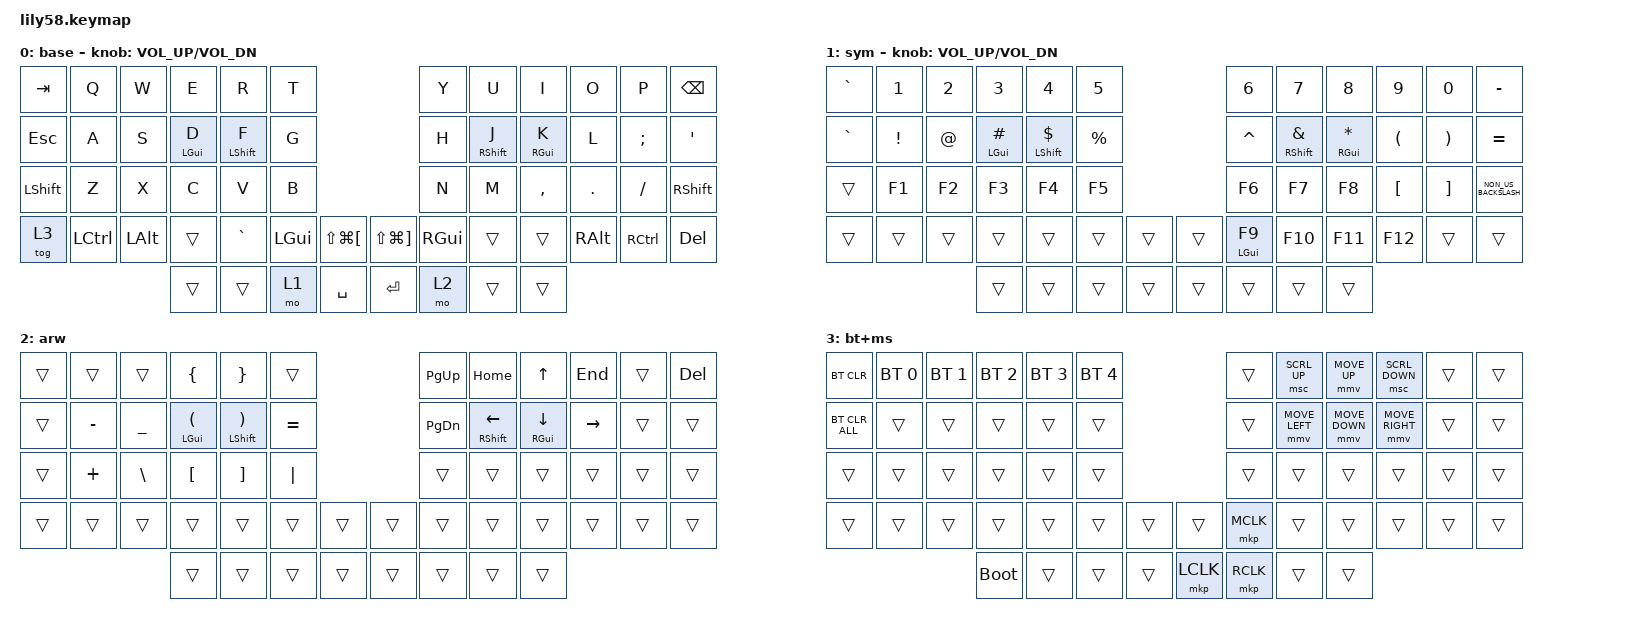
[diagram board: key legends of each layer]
/*
 * Copyright (c) 2020 The ZMK Contributors
 *
 * SPDX-License-Identifier: MIT
 */
// Enable mouse

#include <behaviors.dtsi>
#include <dt-bindings/zmk/bt.h>
#include <dt-bindings/zmk/keys.h>
#include <dt-bindings/zmk/pointing.h>

// Left and right hand keys (Lily58)

#define KEYS_L 0 1 2 3 4 5 12 13 14 15 16 17 24 25 26 27 28 29 36 37 38 39 40 41 42 50 51 52 53
#define KEYS_R 6 7 8 9 10 11 18 19 20 21 22 23 30 31 32 33 34 35 43 44 45 46 47 48 49 54 55 56 57

/ {
    behaviors {
        hml: home_row_mod_left {
            compatible = "zmk,behavior-hold-tap";
            #binding-cells = <2>;
            flavor = "balanced";
            require-prior-idle-ms = <100>;
            tapping-term-ms = <280>;
            quick-tap-ms = <175>;
            bindings = <&kp>, <&kp>;

            hold-trigger-key-positions = <KEYS_R>; // List of keys on the right side of the keyboard
            hold-trigger-on-release;
        };

        hmr: home_row_mod_right {
            compatible = "zmk,behavior-hold-tap";
            #binding-cells = <2>;
            flavor = "balanced";
            require-prior-idle-ms = <100>;
            tapping-term-ms = <280>;
            quick-tap-ms = <175>;
            bindings = <&kp>, <&kp>;

            hold-trigger-key-positions = <KEYS_L>; // List of keys on the left side of the keyboard
            hold-trigger-on-release;
        };
    };

    keymap {
        compatible = "zmk,keymap";

        base {
            display-name = "base";

            // ------------------------------------------------------------------------------------------------------------
            // |  ESC  |  1  |  2  |  3   |  4   |  5   |                   |  6   |  7    |  8    |  9   |   0   |   `   |
            // |  TAB  |  Q  |  W  |  E   |  R   |  T   |                   |  Y   |  U    |  I    |  O   |   P   |   -   |
            // |  CTRL |  A  |  S  |  D   |  F   |  G   |                   |  H   |  J    |  K    |  L   |   ;   |   '   |
            // | SHIFT |  Z  |  X  |  C   |  V   |  B   |   "["  |  |  "]"  |  N   |  M    |  ,    |  .   |   /   | SHIFT |
            //                     | ALT  | GUI  | LOWER|  SPACE |  | ENTER | RAISE| BSPC  | GUI   |

            bindings = <
&kp TAB         &kp Q             &kp W         &kp E            &kp R              &kp T                                               &kp Y          &kp U               &kp I             &kp O          &kp P              &kp BACKSPACE
&kp ESCAPE      &kp A             &kp S         &hml LEFT_GUI D  &hml LEFT_SHIFT F  &kp G                                               &kp H          &hmr RIGHT_SHIFT J  &hmr RIGHT_GUI K  &kp L          &kp SEMICOLON      &kp SQT
&kp LEFT_SHIFT  &kp Z             &kp X         &kp C            &kp V              &kp B                                               &kp N          &kp M               &kp COMMA         &kp PERIOD     &kp SLASH          &kp RIGHT_SHIFT
&tog 3          &kp LEFT_CONTROL  &kp LEFT_ALT  &trans           &kp GRAVE          &kp LEFT_GUI  &kp LS(LG(LBKT))    &kp LS(LG(RBKT))  &kp RIGHT_GUI  &trans              &trans            &kp RIGHT_ALT  &kp RIGHT_CONTROL  &kp DELETE
                                                &trans           &trans             &mo 1         &kp SPACE           &kp RET           &mo 2          &trans              &trans
            >;

            sensor-bindings = <&inc_dec_kp C_VOL_UP C_VOL_DN>;
        };

        sym {
            display-name = "sym";

            // ------------------------------------------------------------------------------------------------------------
            // |       |     |     |      |      |      |                   |      |       |       |      |       |       |
            // |   `   |  1  |  2  |  3   |  4   |  5   |                   |  6   |   7   |   8   |  9   |   0   |       |
            // |   F1  |  F2 |  F3 |  F4  |  F5  |  F6  |                   |      |   <-  |   v   |  ^   |  ->   |       |
            // |   F7  |  F8 |  F9 |  F10 |  F11 |  F12 |        |  |       |  +   |   -   |   =   |  [   |   ]   |   \   |
            //                     |      |      |      |        |  |       |      |       |       |

            bindings = <
&kp GRAVE  &kp NUMBER_1     &kp NUMBER_2  &kp NUMBER_3         &kp NUMBER_4            &kp N5                         &kp NUMBER_6     &kp N7                      &kp N8                   &kp N9                &kp N0                 &kp MINUS
&kp GRAVE  &kp EXCLAMATION  &kp AT_SIGN   &hml LEFT_GUI POUND  &hml LEFT_SHIFT DOLLAR  &kp PERCENT                    &kp CARET        &hmr RIGHT_SHIFT AMPERSAND  &hmr RIGHT_GUI ASTERISK  &kp LEFT_PARENTHESIS  &kp RIGHT_PARENTHESIS  &kp EQUAL
&trans     &kp F1           &kp F2        &kp F3               &kp F4                  &kp F5                         &kp F6           &kp F7                      &kp F8                   &kp LEFT_BRACKET      &kp RIGHT_BRACKET      &kp NON_US_BACKSLASH
&trans     &trans           &trans        &trans               &trans                  &trans       &trans    &trans  &mt LEFT_GUI F9  &kp F10                     &kp F11                  &kp F12               &trans                 &trans
                                          &trans               &trans                  &trans       &trans    &trans  &trans           &trans                      &trans
            >;

            sensor-bindings = <&inc_dec_kp C_VOL_UP C_VOL_DN>;
        };

        arw {
            display-name = "arw";
            bindings = <
&trans  &trans     &trans          &kp LEFT_BRACE                  &kp RIGHT_BRACE                    &trans                       &kp PAGE_UP    &kp HOME               &kp UP_ARROW         &kp END    &trans  &kp DELETE
&trans  &kp MINUS  &kp UNDERSCORE  &hmr LEFT_GUI LEFT_PARENTHESIS  &hmr LEFT_SHIFT RIGHT_PARENTHESIS  &kp EQUAL                    &kp PAGE_DOWN  &hmr RIGHT_SHIFT LEFT  &hmr RIGHT_GUI DOWN  &kp RIGHT  &trans  &trans
&trans  &kp PLUS   &kp BACKSLASH   &kp LEFT_BRACKET                &kp RIGHT_BRACKET                  &kp PIPE                     &trans         &trans                 &trans               &trans     &trans  &trans
&trans  &trans     &trans          &trans                          &trans                             &trans     &trans    &trans  &trans         &trans                 &trans               &trans     &trans  &trans
                                   &trans                          &trans                             &trans     &trans    &trans  &trans         &trans                 &trans
            >;
        };

        bt+ms {
            display-name = "bt+ms";
            bindings = <
&bt BT_CLR      &bt BT_SEL 0  &bt BT_SEL 1  &bt BT_SEL 2  &bt BT_SEL 3  &bt BT_SEL 4                       &trans     &msc SCRL_UP    &mmv MOVE_UP    &msc SCRL_DOWN   &trans  &trans
&bt BT_CLR_ALL  &trans        &trans        &trans        &trans        &trans                             &trans     &mmv MOVE_LEFT  &mmv MOVE_DOWN  &mmv MOVE_RIGHT  &trans  &trans
&trans          &trans        &trans        &trans        &trans        &trans                             &trans     &trans          &trans          &trans           &trans  &trans
&trans          &trans        &trans        &trans        &trans        &trans        &trans    &trans     &mkp MCLK  &trans          &trans          &trans           &trans  &trans
                                            &bootloader   &trans        &trans        &trans    &mkp LCLK  &mkp RCLK  &trans          &trans
            >;
        };
    };
};
